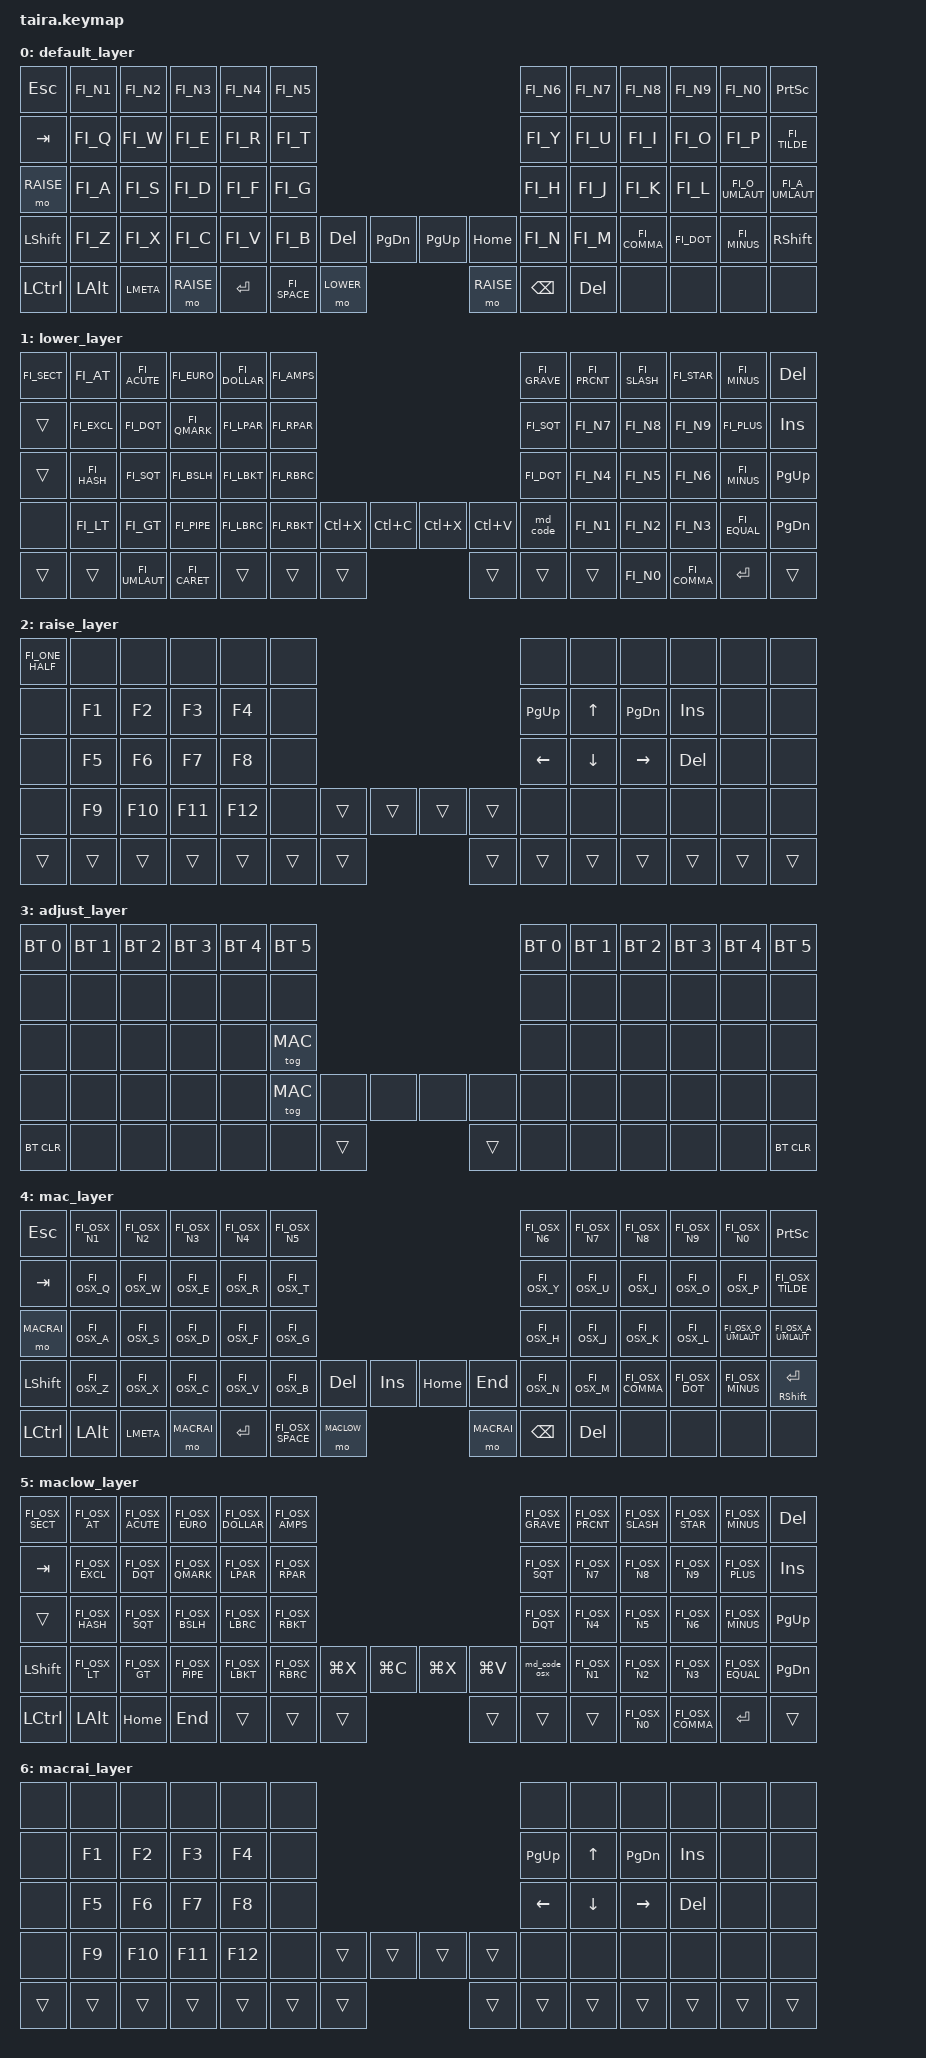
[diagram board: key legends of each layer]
/*
 * Copyright (c) 2020 The ZMK Contributors
 *
 * SPDX-License-Identifier: MIT
 */

#include <behaviors.dtsi>
#include <dt-bindings/zmk/keys.h>
#include <dt-bindings/zmk/outputs.h>
#include <dt-bindings/zmk/bt.h>
#include "keys_fi.h"
#include "keys_osx_fi.h"

#define DEFAULT 0
#define LOWER   1
#define RAISE   2
#define ADJUST  3
#define MAC     4
#define MACLOW  5
#define MACRAI  6
#define GAME    7

#define HYPR(KC) LC(LS(LA(LG(KC))))

/ {
        conditional_layers {
                compatible = "zmk,conditional-layers";

                tri_layer {
                        if-layers  = <LOWER RAISE>;
                        then-layer = <ADJUST>;
                };

                mac_tri_layer {
                        if-layers  = <MACLOW MACRAI>;
                        then-layer = <ADJUST>;
                };
        };

        macros {
                md_code: md_code {
                        label = "ZM_MARKDOWN_CODE_BLOCK";
                        compatible = "zmk,behavior-macro";
                        #binding-cells = <0>;
                        bindings
                                = <&macro_tap &kp FI_GRAVE &kp FI_GRAVE &kp FI_GRAVE &kp FI_GRAVE &kp FI_GRAVE &kp FI_GRAVE>
                                ;
                };

                md_code_osx: md_code_osx {
                        label = "ZM_MARKDOWN_CODE_BLOCK_OSX";
                        compatible = "zmk,behavior-macro";
                        #binding-cells = <0>;
                        bindings
                                = <&macro_tap &kp FI_OSX_GRAVE &kp FI_OSX_GRAVE &kp FI_OSX_GRAVE &kp FI_OSX_GRAVE &kp FI_OSX_GRAVE &kp FI_OSX_GRAVE>
                                ;
                };
        };

        keymap {
                compatible = "zmk,keymap";

                default_layer {
/* QWERTY
 * .----------------------------------------------------------------------------------------------------------------------------------.
 * | ESC  |   1  |   2  |   3  |   4  |   5  |                                              |   6  |   7  |   8  |   9  |   0  | PScr |
 * |-------------+------+------+------+------+------+------+-------+-+-------+-------+------+------+------+------+------+------+------|
 * | TAB  |   Q  |   W  |   E  |   R  |   T  |                                              |   Y  |   U  |   I  |   O  |   P  |  ~   |
 * |-------------+------+------+------+------+------+------+-------+-+-------+-------+------+------+------+------+------+------+------|
 * | RAIS |   A  |   S  |   D  |   F  |   G  |                                              |   H  |   J  |   K  |   L  |   Ö  |  Ä   |
 * |-------------+------+------+------+------+------+------+-------+-+-------+-------+------+------+------+------+------+------+------|
 * | Shift|   Z  |   X  |   C  |   V  |   B  |      | Del  | PGDN  | | PGUP  | Home  |      |   N  |   M  |   ,  |   .  |   -  | SH/E |
 * |-------------+------+------+------+------+------+------+-------+-+-------+-------+------+------+------+------+------+------+------|
 * | Ctrl | Alt  | Meta | RAISE|             | RET  | SPC  | Lower | | Raise | BSPC  | DEL  |             |      |      |      |      |
 * .----------------------------------------------------------------------------------------------------------------------------------.
 */
                        bindings = <
&kp ESC    &kp FI_N1 &kp FI_N2  &kp FI_N3  &kp FI_N4  &kp FI_N5                                                                    &kp FI_N6  &kp FI_N7  &kp FI_N8     &kp FI_N9   &kp FI_N0        &kp PSCRN
&kp TAB    &kp FI_Q  &kp FI_W   &kp FI_E   &kp FI_R   &kp FI_T                                                                     &kp FI_Y   &kp FI_U   &kp FI_I      &kp FI_O    &kp FI_P         &kp FI_TILDE
&mo RAISE  &kp FI_A  &kp FI_S   &kp FI_D   &kp FI_F   &kp FI_G                                                                     &kp FI_H   &kp FI_J   &kp FI_K      &kp FI_L    &kp FI_O_UMLAUT  &kp FI_A_UMLAUT
&kp LSHFT  &kp FI_Z  &kp FI_X   &kp FI_C   &kp FI_V   &kp FI_B              &kp DEL       &kp PG_DN  &kp PG_UP  &kp HOME           &kp FI_N   &kp FI_M   &kp FI_COMMA  &kp FI_DOT  &kp FI_MINUS     &kp RSHFT
&kp LCTRL  &kp LALT  &kp LMETA  &mo RAISE                        &kp ENTER  &kp FI_SPACE  &mo LOWER  &mo RAISE  &kp BSPC  &kp DEL                        &none         &none       &none            &none
                        >;
                };

                lower_layer {
/*
 * .----------------------------------------------------------------------------------------------------------------------------------.
 * |   §  |   @  |   ´  |   €  |   $  |   &  |                                              |   `  |   %  |   /  |   *  |   -  | DEL  |
 * |-------------+------+------+------+------+------+------+-------+-+-------+-------+------+------+------+------+------+------+------|
 * |      |   !  |   "  |   ?  |   (  |   )  |                                              |   '  |   7  |   8  |   9  |   +  | INS  |
 * |-------------+------+------+------+------+------+------+-------+-+-------+-------+------+------+------+------+------+------+------|
 * |      |   #  |   '  |   \  |   [  |   ]  |                                              |   "  |   4  |   5  |   6  |   -  | PGUP |
 * |-------------+------+------+------+------+------+------+-------+-+-------+-------+------+------+------+------+------+------+------|
 * |      |   <  |   >  |   |  |   {  |   }  |      |  Cut |  Copy | |  Cut  | Paste |      |  ``` |   1  |   2  |   3  |   =  | PGDW |
 * |-------------+------+------+------+------+------+------+-------+-+-------+-------+------+------+------+------+------+------+------|
 * |      |      |   ¨  |   ^  |             |      |      | Lower | | Raise |       |      |             |   0  |   ,  |  RET |      |
 * .----------------------------------------------------------------------------------------------------------------------------------.
 */
                        bindings = <
&kp FI_SECT  &kp FI_AT     &kp FI_ACUTE   &kp FI_EURO   &kp FI_DOLLAR  &kp FI_AMPS                                                                  &kp FI_GRAVE  &kp FI_PRCNT  &kp FI_SLASH  &kp FI_STAR  &kp FI_MINUS  &kp DEL
&trans       &kp FI_EXCL   &kp FI_DQT     &kp FI_QMARK  &kp FI_LPAR    &kp FI_RPAR                                                                  &kp FI_SQT    &kp FI_N7     &kp FI_N8     &kp FI_N9    &kp FI_PLUS   &kp INS
&trans       &kp FI_HASH   &kp FI_SQT     &kp FI_BSLH   &kp FI_LBKT    &kp FI_RBRC                                                                  &kp FI_DQT    &kp FI_N4     &kp FI_N5     &kp FI_N6    &kp FI_MINUS  &kp PG_UP
&none        &kp FI_LT     &kp FI_GT      &kp FI_PIPE   &kp FI_LBRC    &kp FI_RBKT             &kp LC(X)  &kp LC(C)  &kp LC(X)  &kp LC(V)           &md_code      &kp FI_N1     &kp FI_N2     &kp FI_N3    &kp FI_EQUAL  &kp PG_DN
&trans       &trans        &kp FI_UMLAUT  &kp FI_CARET                                 &trans  &trans     &trans     &trans     &trans     &trans                               &kp FI_N0     &kp FI_COMMA &kp ENTER     &trans
                        >;
                };

                raise_layer {
/* 
 * .----------------------------------------------------------------------------------------------------------------------------------.
 * |   ½  |      |      |      |      |      |                                              |      |      |      |      |      |      |
 * |-------------+------+------+------+------+------+------+-------+-+-------+-------+------+------+------+------+------+------+------|
 * |      |  F1  |  F2  |  F3  |  F4  |      |                                              | PGUP |  UP  | PGDW | INS  |      |      |
 * |-------------+------+------+------+------+------+------+-------+-+-------+-------+------+------+------+------+------+------+------|
 * |      |  F5  |  F6  |  F7  |  F8  |      |                                              | LEFT | DOWN | RGHT | DEL  |      |      |
 * |-------------+------+------+------+------+------+------+-------+-+-------+-------+------+------+------+------+------+------+------|
 * |      |  F9  |  F10 |  F11 |  F12 |      |      |      |       | |       |       |      |      |      |      |      |      |      |
 * |-------------+------+------+------+------+------+------+-------+-+-------+-------+------+------+------+------+------+------+------|
 * |      |      |      |      |             |      |      |       | |       |       |      |             |      |      |      |      |
 * .----------------------------------------------------------------------------------------------------------------------------------.
 */
                        bindings = <
&kp FI_ONE_HALF  &none    &none    &none     &none    &none                                                  &none      &none     &none      &none      &none   &none 
&none            &kp F1   &kp F2   &kp  F3   &kp F4   &none                                                  &kp PG_UP  &kp UP    &kp PG_DN  &kp INS    &none   &none 
&none            &kp F5   &kp F6   &kp  F7   &kp F8   &none                                                  &kp LEFT   &kp DOWN  &kp RIGHT  &kp DEL    &none   &none 
&none            &kp F9   &kp F10  &kp  F11  &kp F12  &none          &trans  &trans  &trans  &trans          &none      &none     &none      &none      &none   &none 
&trans           &trans   &trans   &trans                    &trans  &trans  &trans  &trans  &trans  &trans                       &trans     &trans     &trans  &trans
                        >;
                };

                adjust_layer {
/* 
 * .----------------------------------------------------------------------------------------------------------------------------------.
 * |  BT1 | BT2  | BT3  |  BT4 |  BT5 |  BT6 |                                              |  BT1 | BT2  | BT3  |  BT4 |  BT5 |  BT6 |
 * |-------------+------+------+------+------+------+------+-------+-+-------+-------+------+------+------+------+------+------+------|
 * |      |      |      |      |      |      |                                              |      |      |      |      |      |      |
 * |-------------+------+------+------+------+------+------+-------+-+-------+-------+------+------+------+------+------+------+------|
 * |      |      |      |      |      | GAME |                                              |      |      |      |      |      |      |
 * |-------------+------+------+------+------+------+------+-------+-+-------+-------+------+------+------+------+------+------+------|
 * |      |      |      |      |      | MAC  |      |      |       | |       |       |      |      |      |      |      |      |      |
 * |-------------+------+------+------+------+------+------+-------+-+-------+-------+------+------+------+------+------+------+------|
 * |BT_CLR|      |      |      |             |      |      | Lower | | Raise |       |      |             |      |      |      |BT_CLR|
 * .----------------------------------------------------------------------------------------------------------------------------------.
 */
                        bindings = <
&bt BT_SEL 0  &bt BT_SEL 1  &bt BT_SEL 2  &bt BT_SEL 3  &bt BT_SEL 4  &bt BT_SEL 5                                                                     &bt BT_SEL 0  &bt BT_SEL 1  &bt BT_SEL 2  &bt BT_SEL 3  &bt BT_SEL 4  &bt BT_SEL 5
&none         &none         &none         &none         &none         &none                                                                            &none         &none         &none         &none         &none         &none
&none         &none         &none         &none         &none         &tog MAC                                                                         &none         &none         &none         &none         &none         &none
&none         &none         &none         &none         &none         &tog MAC                  &none       &none         &none       &none            &none         &none         &none         &none         &none         &none
&bt BT_CLR    &none         &none         &none                                       &none     &none       &trans        &trans      &none     &none                              &none         &none         &none         &bt BT_CLR
                        >;
                };

                mac_layer {
/* QWERTY
 * .----------------------------------------------------------------------------------------------------------------------------------.
 * | ESC  |   1  |   2  |   3  |   4  |   5  |                                              |   6  |   7  |   8  |   9  |   0  | PScr |
 * |-------------+------+------+------+------+------+------+-------+-+-------+-------+------+------+------+------+------+------+------|
 * | TAB  |   Q  |   W  |   E  |   R  |   T  |                                              |   Y  |   U  |   I  |   O  |   P  |  ~   |
 * |-------------+------+------+------+------+------+------+-------+-+-------+-------+------+------+------+------+------+------+------|
 * | RAIS |   A  |   S  |   D  |   F  |   G  |                                              |   H  |   J  |   K  |   L  |   Ö  |  Ä   |
 * |-------------+------+------+------+------+------+------+-------+-+-------+-------+------+------+------+------+------+------+------|
 * | Shift|   Z  |   X  |   C  |   V  |   B  |      | Del  | Insrt | | Home  | End   |      |   N  |   M  |   ,  |   .  |   -  | SH/E |
 * |-------------+------+------+------+------+------+------+-------+-+-------+-------+------+------+------+------+------+------+------|
 * | Ctrl | Alt  | Meta | RAISE|             | RET  | SPC  | Lower | | Raise | BSPC  | DEL  |             |      |      |      |      |
 * .----------------------------------------------------------------------------------------------------------------------------------.
 */
                        bindings = <
&kp ESC     &kp FI_OSX_N1 &kp FI_OSX_N2  &kp FI_OSX_N3  &kp FI_OSX_N4  &kp FI_OSX_N5                                                                          &kp FI_OSX_N6  &kp FI_OSX_N7  &kp FI_OSX_N8     &kp FI_OSX_N9   &kp FI_OSX_N0        &kp PSCRN
&kp TAB     &kp FI_OSX_Q  &kp FI_OSX_W   &kp FI_OSX_E   &kp FI_OSX_R   &kp FI_OSX_T                                                                           &kp FI_OSX_Y   &kp FI_OSX_U   &kp FI_OSX_I      &kp FI_OSX_O    &kp FI_OSX_P         &kp FI_OSX_TILDE
&mo MACRAI  &kp FI_OSX_A  &kp FI_OSX_S   &kp FI_OSX_D   &kp FI_OSX_F   &kp FI_OSX_G                                                                           &kp FI_OSX_H   &kp FI_OSX_J   &kp FI_OSX_K      &kp FI_OSX_L    &kp FI_OSX_O_UMLAUT  &kp FI_OSX_A_UMLAUT
&kp LSHFT   &kp FI_OSX_Z  &kp FI_OSX_X   &kp FI_OSX_C   &kp FI_OSX_V   &kp FI_OSX_B              &kp DEL           &kp INS     &kp HOME    &kp END            &kp FI_OSX_N   &kp FI_OSX_M   &kp FI_OSX_COMMA  &kp FI_OSX_DOT  &kp FI_OSX_MINUS     &mt RSHFT ENTER
&kp LCTRL   &kp LALT      &kp LMETA      &mo MACRAI                                   &kp ENTER  &kp FI_OSX_SPACE  &mo MACLOW  &mo MACRAI  &kp BSPC  &kp DEL                                &none             &none           &none                &none
                        >;
                };

                maclow_layer {
/*
 * .----------------------------------------------------------------------------------------------------------------------------------.
 * |   §  |   @  |   ´  |   €  |   $  |   &  |                                              |   `  |   %  |   /  |   *  |   -  | DEL  |
 * |-------------+------+------+------+------+------+------+-------+-+-------+-------+------+------+------+------+------+------+------|
 * | TAB  |   !  |   "  |   ?  |   (  |   )  |                                              |   '  |   7  |   8  |   9  |   +  | INS  |
 * |-------------+------+------+------+------+------+------+-------+-+-------+-------+------+------+------+------+------+------+------|
 * |      |   #  |   '  |   \  |   [  |   ]  |                                              |   "  |   4  |   5  |   6  |   -  | PGUP |
 * |-------------+------+------+------+------+------+------+-------+-+-------+-------+------+------+------+------+------+------+------|
 * | Shift|   <  |   >  |   |  |   {  |   }  |      |  Cut |  Copy | |  Cut  | Paste |      |  ``` |   1  |   2  |   3  |   =  | PGDW |
 * |-------------+------+------+------+------+------+------+-------+-+-------+-------+------+------+------+------+------+------+------|
 * | Ctrl | Alt  | HOME |  END |             |      |      | Lower | | Raise |       |      |             |   0  |   ,  |  RET |      |
 * .----------------------------------------------------------------------------------------------------------------------------------.
 */
                        bindings = <
&kp FI_OSX_SECT   &kp FI_OSX_AT    &kp FI_OSX_ACUTE   &kp FI_OSX_EURO   &kp FI_OSX_DOLLAR  &kp FI_OSX_AMPS                                                                  &kp FI_OSX_GRAVE  &kp FI_OSX_PRCNT  &kp FI_OSX_SLASH  &kp FI_OSX_STAR  &kp FI_OSX_MINUS  &kp DEL
&kp TAB           &kp FI_OSX_EXCL  &kp FI_OSX_DQT     &kp FI_OSX_QMARK  &kp FI_OSX_LPAR    &kp FI_OSX_RPAR                                                                  &kp FI_OSX_SQT    &kp FI_OSX_N7     &kp FI_OSX_N8     &kp FI_OSX_N9    &kp FI_OSX_PLUS   &kp INS
&trans            &kp FI_OSX_HASH  &kp FI_OSX_SQT     &kp FI_OSX_BSLH   &kp FI_OSX_LBRC    &kp FI_OSX_RBKT                                                                  &kp FI_OSX_DQT    &kp FI_OSX_N4     &kp FI_OSX_N5     &kp FI_OSX_N6    &kp FI_OSX_MINUS  &kp PG_UP
&kp LSHFT         &kp FI_OSX_LT    &kp FI_OSX_GT      &kp FI_OSX_PIPE   &kp FI_OSX_LBKT    &kp FI_OSX_RBRC             &kp LG(X)  &kp LG(C)  &kp LG(X)  &kp LG(V)           &md_code_osx      &kp FI_OSX_N1     &kp FI_OSX_N2     &kp FI_OSX_N3    &kp FI_OSX_EQUAL  &kp PG_DN
&kp LCTRL         &kp LALT         &kp HOME           &kp END                                                  &trans  &trans     &trans     &trans     &trans     &trans                                       &kp FI_OSX_N0     &kp FI_OSX_COMMA &kp ENTER         &trans
                        >;
                };

                macrai_layer {
/* 
 * .----------------------------------------------------------------------------------------------------------------------------------.
 * |      |      |      |      |      |      |                                              |      |      |      |      |      |      |
 * |-------------+------+------+------+------+------+------+-------+-+-------+-------+------+------+------+------+------+------+------|
 * |      |  F1  |  F2  |  F3  |  F4  |      |                                              | PGUP |  UP  | PGDW | INS  |      |      |
 * |-------------+------+------+------+------+------+------+-------+-+-------+-------+------+------+------+------+------+------+------|
 * |      |  F5  |  F6  |  F7  |  F8  |      |                                              | LEFT | DOWN | RGHT | DEL  |      |      |
 * |-------------+------+------+------+------+------+------+-------+-+-------+-------+------+------+------+------+------+------+------|
 * |      |  F9  |  F10 |  F11 |  F12 |      |      |      |       | |       |       |      |      |      |      |      |      |      |
 * |-------------+------+------+------+------+------+------+-------+-+-------+-------+------+------+------+------+------+------+------|
 * |      |      |      |      |             |      |      |       | |       |       |      |             |      |      |      |      |
 * .----------------------------------------------------------------------------------------------------------------------------------.
 */
                        bindings = <
&none   &none    &none    &none     &none    &none                                                  &none      &none     &none      &none      &none   &none
&none   &kp F1   &kp F2   &kp  F3   &kp F4   &none                                                  &kp PG_UP  &kp UP    &kp PG_DN  &kp INS    &none   &none
&none   &kp F5   &kp F6   &kp  F7   &kp F8   &none                                                  &kp LEFT   &kp DOWN  &kp RIGHT  &kp DEL    &none   &none
&none   &kp F9   &kp F10  &kp  F11  &kp F12  &none          &trans  &trans  &trans  &trans          &none      &none     &none      &none      &none   &none
&trans  &trans   &trans   &trans                    &trans  &trans  &trans  &trans  &trans  &trans                       &trans     &trans     &trans  &trans
                        >;
                };



/* QWERTY
 * .----------------------------------------------------------------------------------------------------------------------------------.
 * |  `   |   1  |   2  |   3  |   4  |   5  |                                              |   6  |   7  |   8  |   9  |   0  | PScr |
 * |-------------+------+------+------+------+------+------+-------+-+-------+-------+------+------+------+------+------+------+------|
 * | ESC  |   Q  |   W  |   E  |   R  |   T  |                                              |   Y  |   U  |   I  |   O  |   P  |  \   |
 * |-------------+------+------+------+------+------+------+-------+-+-------+-------+------+------+------+------+------+------+------|
 * | Tab  |   A  |   S  |   D  |   F  |   G  |                                              |   H  |   J  |   K  |   L  |   ;  |  '   |
 * |-------------+------+------+------+------+------+------+-------+-+-------+-------+------+------+------+------+------+------+------|
 * | Shift|   Z  |   X  |   C  |   V  |   B  |      | Del  | PGDN  | | PGUP  | Home  |      |   N  |   M  |   ,  |   .  |   /  | Shift|
 * |-------------+------+------+------+------+------+------+-------+-+-------+-------+------+------+------+------+------+------+------|
 * | Ctrl | Alt  | Meta | Alt  |             | Meta | Space| Lower | | Raise | Enter | RAlt |             | LEFT | DOWN | UP   | RIGHT|
 * .----------------------------------------------------------------------------------------------------------------------------------.
 */
                /*hyper_layer {

                        bindings = <
&trans        &trans     &trans      &trans      &trans      &trans                                                                         &trans   &trans     &trans      &trans     &trans        &none
&trans        &trans     &kp HYPR(W) &trans      &trans      &trans                                                                         &trans   &trans     &trans      &trans     &trans        &none
&trans        &trans     &trans      &trans      &kp HYPR(F) &trans                                                                         &kp LEFT &kp DOWN   &kp UP      &kp RIGHT  &trans        &none
&trans        &trans     &trans      &trans      &trans      &trans             &trans      &trans        &trans      &trans                &trans   &trans     &trans      &trans     &trans        &none
&trans        &trans     &trans      &trans                           &trans    &kp HYPR(SPACE)       &trans        &trans      &trans    &trans                          &trans      &trans     &trans        &none
                        >;
                };

                game_layer {
                        bindings = <
&kp  GRAVE    &kp  N1    &kp  N2     &kp  N3     &kp  N4    &kp  N5                                                                        &kp  N6  &kp  N7    &kp  N8     &kp  N9    &kp  N0       &kp  PSCRN
&kp  TAB      &kp  Q     &kp  W      &kp  E      &kp  R     &kp  T                                                                         &kp  Y   &kp  U     &kp  I      &kp  O     &kp  P        &kp  BSLH
&kp  ESC      &kp  A     &kp  S      &kp  D      &kp  F     &kp  G                                                                         &kp  H   &kp  J     &kp  K      &kp  L     &kp  SEMI     &kp  SQT
&kp  LSHFT    &kp  Z     &kp  X      &kp  C      &kp  V     &kp  B             &kp  DEL    &kp  PG_DN    &kp  PG_UP  &kp  HOME             &kp  N   &kp  M     &kp  COMMA  &kp  DOT   &kp  SLASH    &kp  ENTER
&kp  LCTRL    &kp LALT   &kp  LMETA  &kp  LALT                       &kp LMETA &kp  SPACE  &mo  LOWER    &mo  RAISE  &kp  BSPC &kp  RALT                       &kp  LEFT   &kp  DOWN  &kp  UP       &kp  RIGHT
                        >;
                };*/
        };
};
